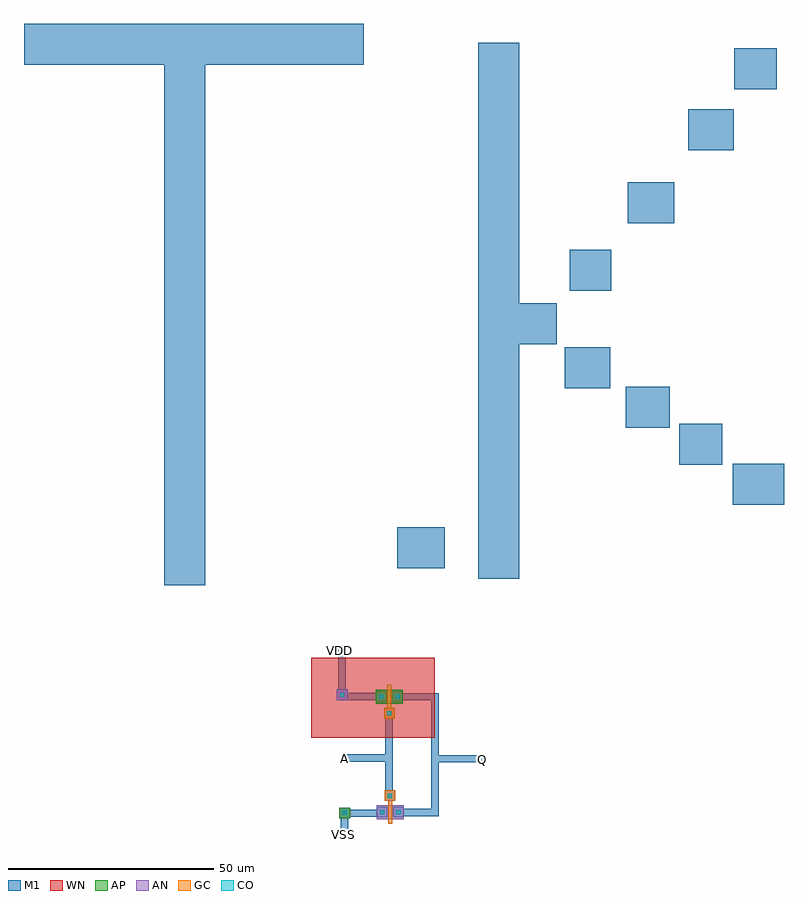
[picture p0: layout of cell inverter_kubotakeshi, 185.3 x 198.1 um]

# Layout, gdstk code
import gdstk
lib = gdstk.Library(unit=1e-6, precision=1e-07)
def R(c, l, rs):  # rectangles x0, y0, x1, y1
    for r in rs: c.add(gdstk.rectangle(r[:2], r[2:], *l))
AP = (3, 1)
AN = (3, 2)
GC = (8, 1)
CO = (11, 0)
M1 = (13, 0)
WN = (140, 0)

fet_p = lib.new_cell('fet_p')
R(fet_p, AP, [(-3.3,-1.7,3.3,1.7)])
R(fet_p, CO, [(-2.5,-0.5,-1.5,0.5), (1.5,-0.5,2.5,0.5)])
R(fet_p, M1, [(-3.3,-1.3,-0.7,1.3), (0.7,-1.3,3.3,1.3)])
fet_p.add(gdstk.FlexPath([(0,-2.9),(0,2.9)], 1, ends="flush", simple_path=True, layer=8, datatype=1))  # GC

cont_g = lib.new_cell('cont_g')
R(cont_g, GC, [(-1.3,-1.3,1.3,1.3)])
R(cont_g, CO, [(-0.5,-0.5,0.5,0.5)])
R(cont_g, M1, [(-1.3,-1.3,1.3,1.3)])

cont_n = lib.new_cell('cont_n')
R(cont_n, AN, [(-1.3,-1.3,1.3,1.3)])
R(cont_n, CO, [(-0.5,-0.5,0.5,0.5)])
R(cont_n, M1, [(-1.3,-1.3,1.3,1.3)])

fet_n = lib.new_cell('fet_n')
R(fet_n, AN, [(-3.3,-1.7,3.3,1.7)])
R(fet_n, CO, [(-2.5,-0.5,-1.5,0.5), (1.5,-0.5,2.5,0.5)])
R(fet_n, M1, [(-3.3,-1.3,-0.7,1.3), (0.7,-1.3,3.3,1.3)])
fet_n.add(gdstk.FlexPath([(0,-2.9),(0,2.9)], 1, ends="flush", simple_path=True, layer=8, datatype=1))  # GC

cont_p = lib.new_cell('cont_p')
R(cont_p, AP, [(-1.3,-1.3,1.3,1.3)])
R(cont_p, CO, [(-0.5,-0.5,0.5,0.5)])
R(cont_p, M1, [(-1.3,-1.3,1.3,1.3)])

inverter_kubotakeshi = lib.new_cell('inverter_kubotakeshi')
R(inverter_kubotakeshi, WN, [(-20,-4.9,10.2,14.6)])
inverter_kubotakeshi.add(gdstk.FlexPath([(-90,164.2),(-7.2,164.2)], 10, ends="flush", simple_path=True, layer=13, datatype=0))  # M1
inverter_kubotakeshi.add(gdstk.FlexPath([(-50.8,163.9),(-50.8,32.3)], 10, ends="flush", simple_path=True, layer=13, datatype=0))  # M1
inverter_kubotakeshi.add(gdstk.FlexPath([(1,41.4),(12.6,41.4)], 10, ends="flush", simple_path=True, layer=13, datatype=0))  # M1
inverter_kubotakeshi.add(gdstk.FlexPath([(25.7,164.6),(25.7,33.9)], 10, ends="flush", simple_path=True, layer=13, datatype=0))  # M1
inverter_kubotakeshi.add(gdstk.FlexPath([(26.3,96),(39.9,96)], 10, ends="flush", simple_path=True, layer=13, datatype=0))  # M1
inverter_kubotakeshi.add(gdstk.FlexPath([(43.1,109.1),(53.2,109.1)], 10, ends="flush", simple_path=True, layer=13, datatype=0))  # M1
inverter_kubotakeshi.add(gdstk.FlexPath([(57.2,125.6),(68.5,125.6)], 10, ends="flush", simple_path=True, layer=13, datatype=0))  # M1
inverter_kubotakeshi.add(gdstk.FlexPath([(72,143.4),(83,143.4)], 10, ends="flush", simple_path=True, layer=13, datatype=0))  # M1
inverter_kubotakeshi.add(gdstk.FlexPath([(83.2,158.2),(93.5,158.2)], 10, ends="flush", simple_path=True, layer=13, datatype=0))  # M1
inverter_kubotakeshi.add(gdstk.FlexPath([(41.9,85.3),(52.9,85.3)], 10, ends="flush", simple_path=True, layer=13, datatype=0))  # M1
inverter_kubotakeshi.add(gdstk.FlexPath([(56.7,75.7),(67.5,75.7)], 10, ends="flush", simple_path=True, layer=13, datatype=0))  # M1
inverter_kubotakeshi.add(gdstk.FlexPath([(69.7,66.7),(80.2,66.7)], 10, ends="flush", simple_path=True, layer=13, datatype=0))  # M1
inverter_kubotakeshi.add(gdstk.FlexPath([(82.8,56.9),(95.3,56.9)], 10, ends="flush", simple_path=True, layer=13, datatype=0))  # M1
inverter_kubotakeshi.add(gdstk.FlexPath([(-1,1.6),(-1,-19.4)], 1.8, ends="flush", simple_path=True, layer=13, datatype=0))  # M1
inverter_kubotakeshi.add(gdstk.FlexPath([(0.6,5.1),(10.2,5.1),(10.2,-23.1),(0.8,-23.1)], 1.8, ends="flush", simple_path=True, layer=13, datatype=0))  # M1
inverter_kubotakeshi.add(gdstk.FlexPath([(10.1,-10),(22.7,-10)], 1.8, ends="flush", simple_path=True, layer=13, datatype=0))  # M1
inverter_kubotakeshi.add(gdstk.FlexPath([(-1.1,-9.8),(-12.5,-9.8)], 1.8, ends="flush", simple_path=True, layer=13, datatype=0))  # M1
inverter_kubotakeshi.add(gdstk.FlexPath([(-12,-23.3),(-2.3,-23.3)], 1.8, ends="flush", simple_path=True, layer=13, datatype=0))  # M1
inverter_kubotakeshi.add(gdstk.FlexPath([(-2.5,5.2),(-12.9,5.2)], 1.8, ends="flush", simple_path=True, layer=13, datatype=0))  # M1
inverter_kubotakeshi.add(gdstk.FlexPath([(-12.5,5.3),(-12.5,17.7)], 1.8, ends="flush", simple_path=True, layer=13, datatype=0))  # M1
inverter_kubotakeshi.add(gdstk.FlexPath([(-11.9,-22.8),(-11.9,-28.9)], 1.8, ends="flush", simple_path=True, layer=13, datatype=0))  # M1
inverter_kubotakeshi.add(gdstk.Reference(fet_p, (-0.9,5.1)))
inverter_kubotakeshi.add(gdstk.Reference(cont_g, (-0.9,1.1)))
inverter_kubotakeshi.add(gdstk.Reference(cont_n, (-12.4,5.6)))
inverter_kubotakeshi.add(gdstk.Reference(fet_n, (-0.7,-23)))
inverter_kubotakeshi.add(gdstk.Reference(cont_g, (-0.8,-19)))
inverter_kubotakeshi.add(gdstk.Reference(cont_p, (-11.8,-23.2)))
inverter_kubotakeshi.add(gdstk.Label('VSS', (-12.2,-28.4), layer=48, texttype=0))
inverter_kubotakeshi.add(gdstk.Label('VDD', (-13.1,16.5), layer=48, texttype=0))
inverter_kubotakeshi.add(gdstk.Label('A', (-11.9,-10), layer=48, texttype=0))
inverter_kubotakeshi.add(gdstk.Label('Q', (21.7,-10.2), layer=48, texttype=0))

lib.write_gds('inverter_kubotakeshi.gds')
